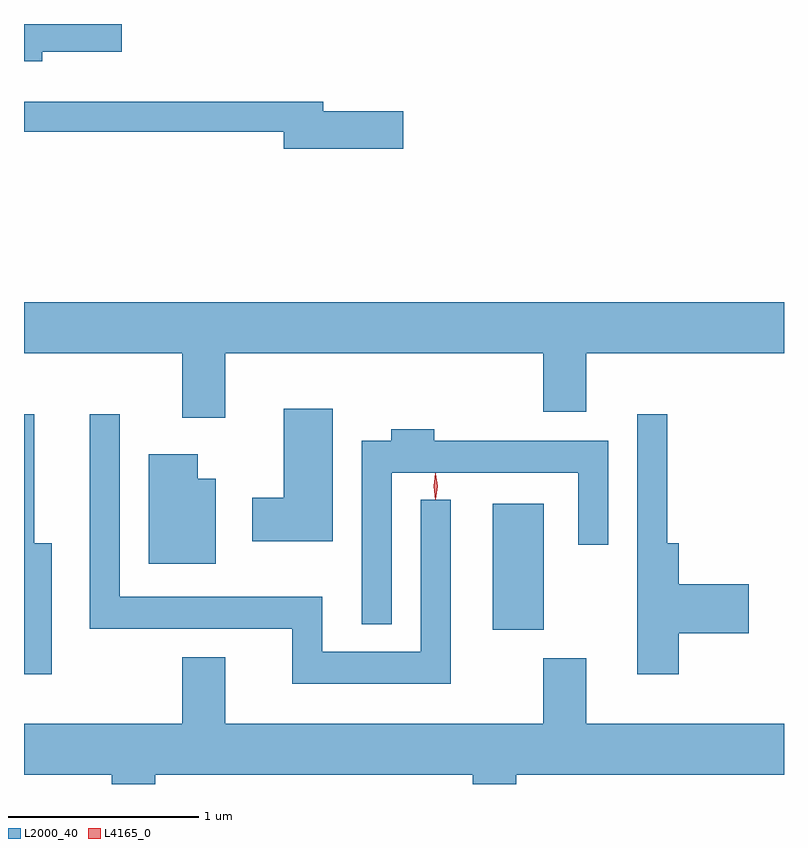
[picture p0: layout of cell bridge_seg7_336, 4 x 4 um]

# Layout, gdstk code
import gdstk
lib = gdstk.Library(unit=1e-6, precision=1e-09)
def R(c, l, rs):  # rectangles x0, y0, x1, y1
    for r in rs: c.add(gdstk.rectangle(r[:2], r[2:], *l))
def P(c, l, *ps):  # polygons
    for p in ps: c.add(gdstk.Polygon(p, *l))
L2000_40 = (2000, 40)
L4165_0 = (4165, 0)

bridge_seg7_336 = lib.new_cell('bridge_seg7_336')
R(bridge_seg7_336, L2000_40, [(1160.236,1746.161,1160.504,1746.824)])
P(bridge_seg7_336, L2000_40, [(1157.864,1749.201),(1158.284,1749.201),(1158.284,1749.348),(1157.769,1749.348),(1157.769,1749.151),(1157.864,1749.151)],
  [(1159.764,1748.889),(1159.344,1748.889),(1159.344,1748.939),(1157.769,1748.939),(1157.769,1748.781),(1159.136,1748.781),(1159.136,1748.691),(1159.764,1748.691)],
  [(1158.829,1747.616),(1160.501,1747.616),(1160.501,1747.306),(1160.729,1747.306),(1160.729,1747.616),(1161.769,1747.616),(1161.769,1747.884),(1157.769,1747.884),(1157.769,1747.616),(1158.601,1747.616),(1158.601,1747.276),(1158.829,1747.276)],
  [(1159.394,1747.324),(1159.136,1747.324),(1159.136,1746.854),(1158.971,1746.854),(1158.971,1746.626),(1159.394,1746.626)],
  [(1157.914,1746.614),(1157.824,1746.614),(1157.824,1747.293),(1157.769,1747.293),(1157.769,1745.926),(1157.914,1745.926)],
  [(1161.214,1746.141),(1161.584,1746.141),(1161.584,1746.399),(1161.214,1746.399),(1161.214,1746.614),(1161.154,1746.614),(1161.154,1747.293),(1160.996,1747.293),(1160.996,1745.926),(1161.214,1745.926)],
  [(1160.014,1746.843),(1159.856,1746.843),(1159.856,1746.044),(1159.339,1746.044),(1159.339,1746.334),(1158.274,1746.334),(1158.274,1747.293),(1158.116,1747.293),(1158.116,1746.166),(1159.181,1746.166),(1159.181,1745.876),(1160.014,1745.876)],
  [(1159.704,1746.986),(1160.686,1746.986),(1160.686,1746.608),(1160.844,1746.608),(1160.844,1747.154),(1159.929,1747.154),(1159.929,1747.214),(1159.701,1747.214),(1159.701,1747.154),(1159.546,1747.154),(1159.546,1746.188),(1159.704,1746.188)],
  [(1158.779,1746.954),(1158.684,1746.954),(1158.684,1747.084),(1158.426,1747.084),(1158.426,1746.506),(1158.779,1746.506)],
  [(1158.459,1745.396),(1160.131,1745.396),(1160.131,1745.348),(1160.359,1745.348),(1160.359,1745.396),(1161.769,1745.396),(1161.769,1745.664),(1160.729,1745.664),(1160.729,1746.009),(1160.501,1746.009),(1160.501,1745.664),(1158.829,1745.664),(1158.829,1746.014),(1158.601,1746.014),(1158.601,1745.664),(1157.769,1745.664),(1157.769,1745.396),(1158.231,1745.396),(1158.231,1745.348),(1158.459,1745.348)])
P(bridge_seg7_336, L4165_0, [(1159.934,1746.844),(1159.925,1746.914),(1159.934,1746.983),(1159.935,1746.983),(1159.935,1746.983),(1159.945,1746.914),(1159.935,1746.844),(1159.935,1746.844)],
  [(1159.936,1746.847),(1159.936,1746.847),(1159.926,1746.914),(1159.936,1746.98),(1159.936,1746.981),(1159.937,1746.98),(1159.946,1746.914),(1159.937,1746.847)])

lib.write_gds('bridge_seg7_336.gds')
